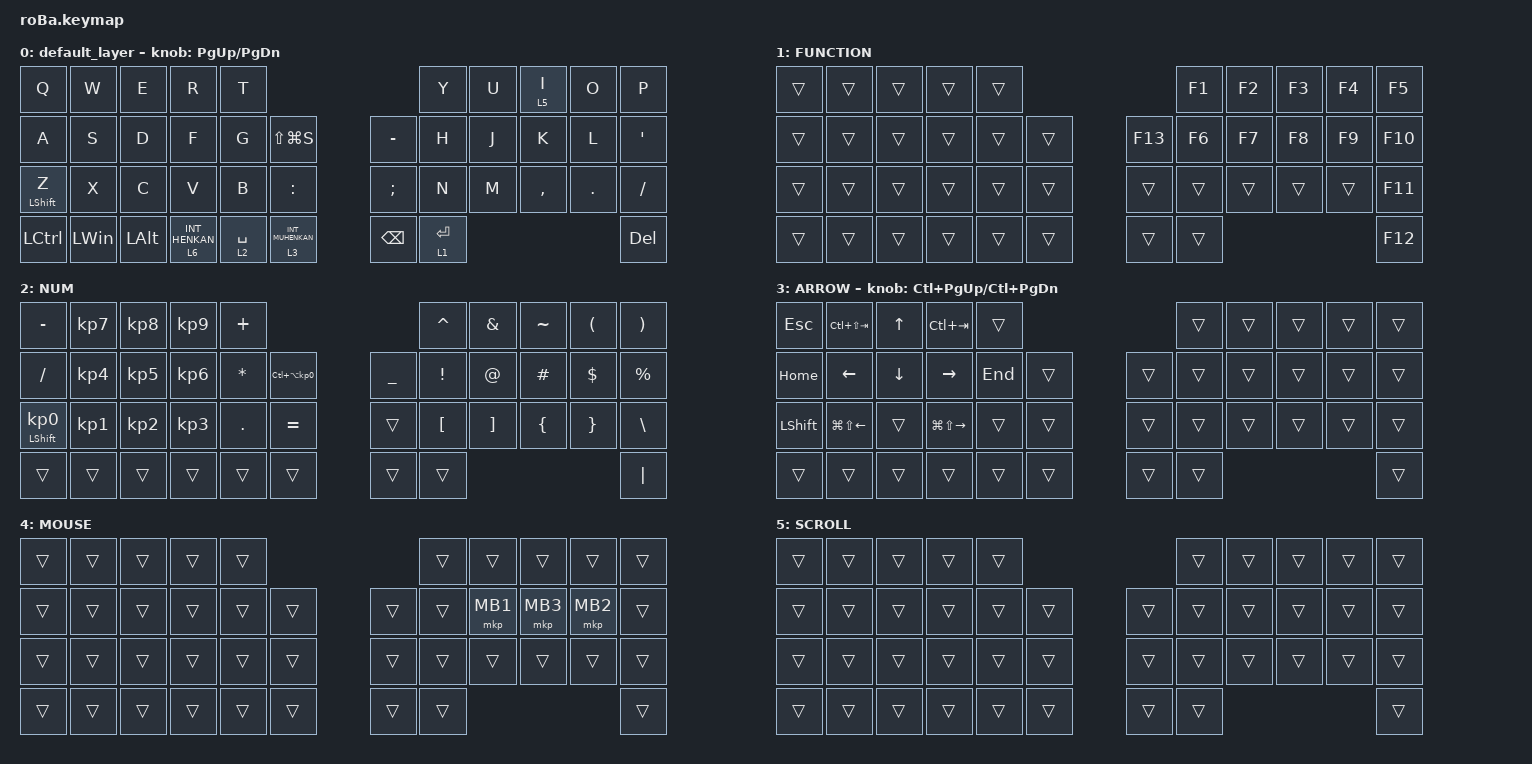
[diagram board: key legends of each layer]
#include <behaviors.dtsi>
#include <dt-bindings/zmk/keys.h>
#include <dt-bindings/zmk/pointing.h>

&mt {
    flavor = "balanced";
    quick-tap-ms = <0>;
};

&trackball {
    automouse-layer = <4>;
    scroll-layers = <5>;

    // arrows {
    //     layers = <3>;
    //     bindings =
    //         <&kp RIGHT_ARROW>,
    //         <&kp LEFT_ARROW>,
    //         <&kp UP_ARROW>,
    //         <&kp DOWN_ARROW>;
    //     tick = <10>;
    //     wait-ms = <5>;
    //     tap-ms = <5>;
    // };
};

/ {
    combos {
        compatible = "zmk,combos";

        tab {
            bindings = <&kp TAB>;
            key-positions = <11 12>;
        };

        shift_tab {
            bindings = <&kp LS(TAB)>;
            key-positions = <12 13>;
        };

        double_quotation {
            bindings = <&kp DOUBLE_QUOTES>;
            key-positions = <20 21>;
        };

        Escape {
            bindings = <&kp ESCAPE>;
            key-positions = <0 1>;
        };

        Colon {
            bindings = <&kp COLON>;
            key-positions = <27 26>;
        };

        UnderScore {
            bindings = <&kp UNDERSCORE>;
            key-positions = <16 17>;
        };

        Plus {
            bindings = <&kp PLUS>;
            key-positions = <28 29>;
            layers = <0>;
        };

        LeftKakko {
            bindings = <&kp LEFT_PARENTHESIS>;
            key-positions = <29 30>;
        };

        RightKakko {
            bindings = <&kp RIGHT_PARENTHESIS>;
            key-positions = <30 31>;
        };

        BackSlash {
            bindings = <&kp BACKSLASH>;
            key-positions = <33 32>;
        };

        KagiKakkoH {
            bindings = <&kp LEFT_BRACKET>;
            key-positions = <29 30 39>;
        };

        KagiKakkoT {
            bindings = <&kp RIGHT_BRACKET>;
            key-positions = <31 30 39>;
        };
    };

    macros {
        to_layer_0: to_layer_0 {
            compatible = "zmk,behavior-macro-one-param";
            #binding-cells = <1>;
            bindings = <&to 0 &macro_param_1to1 &kp MACRO_PLACEHOLDER>;
            label = "TO_LAYER_0";
        };
    };

    behaviors {
        lt_to_layer_0: lt_to_layer_0 {
            compatible = "zmk,behavior-hold-tap";
            label = "LAYER_TAP_TO_0";
            bindings = <&mo>, <&to_layer_0>;

            #binding-cells = <2>;
            tapping-term-ms = <200>;
        };
    };

    keymap {
        compatible = "zmk,keymap";

        default_layer {
            bindings = <
&kp Q             &kp W         &kp E         &kp R                        &kp T                                                          &kp Y        &kp U  &lt 5 I    &kp O    &kp P
&kp A             &kp S         &kp D         &kp F                        &kp G        &kp LS(LG(S))                      &kp MINUS      &kp H        &kp J  &kp K      &kp L    &kp SQT
&mt LEFT_SHIFT Z  &kp X         &kp C         &kp V                        &kp B        &kp COLON                          &kp SEMICOLON  &kp N        &kp M  &kp COMMA  &kp DOT  &kp SLASH
&kp LCTRL         &kp LEFT_WIN  &kp LEFT_ALT  &lt_to_layer_0 6 INT_HENKAN  &lt 2 SPACE  &lt_to_layer_0 3 INT_MUHENKAN      &kp BACKSPACE  &lt 1 ENTER                             &kp DEL
            >;

            sensor-bindings = <&inc_dec_kp PG_UP PAGE_DOWN>;
        };

        FUNCTION {
            bindings = <
&trans  &trans  &trans  &trans  &trans                       &kp F1  &kp F2  &kp F3  &kp F4  &kp F5
&trans  &trans  &trans  &trans  &trans  &trans      &kp F13  &kp F6  &kp F7  &kp F8  &kp F9  &kp F10
&trans  &trans  &trans  &trans  &trans  &trans      &trans   &trans  &trans  &trans  &trans  &kp F11
&trans  &trans  &trans  &trans  &trans  &trans      &trans   &trans                          &kp F12
            >;
        };

        NUM {
            bindings = <
&kp MINUS                   &kp KP_NUMBER_7  &kp KP_NUMBER_8  &kp KP_NUMBER_9  &kp PLUS                                                   &kp CARET         &kp AMPERSAND      &kp TILDE       &kp LEFT_PARENTHESIS  &kp RIGHT_PARENTHESIS
&kp SLASH                   &kp KP_NUMBER_4  &kp KP_NUMBER_5  &kp KP_NUMBER_6  &kp ASTERISK  &kp LC(LA(KP_NUMBER_0))      &kp UNDERSCORE  &kp EXCLAMATION   &kp AT_SIGN        &kp HASH        &kp DOLLAR            &kp PERCENT
&mt LEFT_SHIFT KP_NUMBER_0  &kp KP_NUMBER_1  &kp KP_NUMBER_2  &kp KP_NUMBER_3  &kp PERIOD    &kp EQUAL                    &trans          &kp LEFT_BRACKET  &kp RIGHT_BRACKET  &kp LEFT_BRACE  &kp RIGHT_BRACE       &kp BACKSLASH
&trans                      &trans           &trans           &trans           &trans        &trans                       &trans          &trans                                                                     &kp PIPE
            >;
        };

        ARROW {
            bindings = <
&kp ESCAPE      &kp LC(LS(TAB))         &kp UP_ARROW    &kp LC(TAB)              &trans                       &trans  &trans  &trans  &trans  &trans
&kp HOME        &kp LEFT_ARROW          &kp DOWN_ARROW  &kp RIGHT_ARROW          &kp END  &trans      &trans  &trans  &trans  &trans  &trans  &trans
&kp LEFT_SHIFT  &kp LG(LS(LEFT_ARROW))  &trans          &kp LG(LS(RIGHT_ARROW))  &trans   &trans      &trans  &trans  &trans  &trans  &trans  &trans
&trans          &trans                  &trans          &trans                   &trans   &trans      &trans  &trans                          &trans
            >;

            sensor-bindings = <&inc_dec_kp LC(PAGE_UP) LC(PAGE_DOWN)>;
        };

        MOUSE {
            bindings = <
&trans  &trans  &trans  &trans  &trans                      &trans  &trans    &trans    &trans    &trans
&trans  &trans  &trans  &trans  &trans  &trans      &trans  &trans  &mkp MB1  &mkp MB3  &mkp MB2  &trans
&trans  &trans  &trans  &trans  &trans  &trans      &trans  &trans  &trans    &trans    &trans    &trans
&trans  &trans  &trans  &trans  &trans  &trans      &trans  &trans                                &trans
            >;
        };

        SCROLL {
            bindings = <
&trans  &trans  &trans  &trans  &trans                      &trans  &trans  &trans  &trans  &trans
&trans  &trans  &trans  &trans  &trans  &trans      &trans  &trans  &trans  &trans  &trans  &trans
&trans  &trans  &trans  &trans  &trans  &trans      &trans  &trans  &trans  &trans  &trans  &trans
&trans  &trans  &trans  &trans  &trans  &trans      &trans  &trans                          &trans
            >;
        };
    };
};
